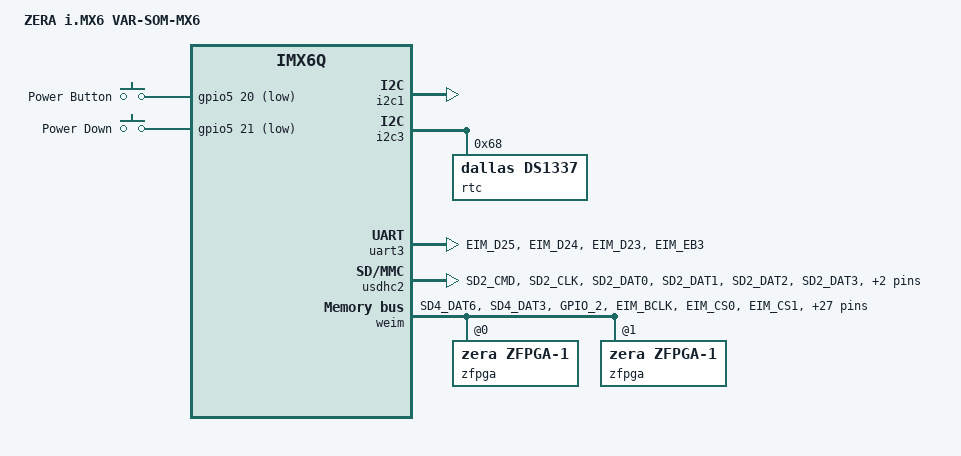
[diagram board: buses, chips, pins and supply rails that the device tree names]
// SPDX-License-Identifier: GPL-2.0+
/*
 * Support for Zera ZENUX devices
 *
 * Inspired by / stolen from imx6q-var-mx6customboard
 *
 * Copyright 2016 Variscite, Ltd. All Rights Reserved
 * Copyright 2022 Bootlin
 * Copyright 2026 ZERA GmbH
 */

/dts-v1/;

#include "imx6qdl-var-som.dtsi"
#include <dt-bindings/pwm/pwm.h>

/ {
	model = "ZERA i.MX6 VAR-SOM-MX6";
	compatible = "variscite,zera-devices, variscite,var-som-imx6q", "fsl,imx6q";

	/* ZERA */
	gpio-keys {
		compatible = "gpio-keys";
		pinctrl-names = "default";
		pinctrl-0 = <&pinctrl_gpio_keys>;

		power-button {
			label = "Power Button";
			gpios = <&gpio5 20 GPIO_ACTIVE_LOW>;
			linux,code = <KEY_POWER>;
			gpio-key,wakeup;
		};
		power-down {
			label = "Power Down";
			gpios = <&gpio5 21 GPIO_ACTIVE_LOW>;
			linux,code = <KEY_POWER>;
			gpio-key,wakeup;
		};
	};
};

&i2c1 {
	pinctrl-names = "default";
	pinctrl-0 = <&pinctrl_i2c1>;
	status = "okay";
};

&i2c3 {
	pinctrl-names = "default";
	pinctrl-0 = <&pinctrl_i2c3>;
	status = "okay";
	rtc@0x68 {
		compatible = "dallas,ds1337";
		reg = <0x68>;
	};
};

&uart3 {
	pinctrl-names = "default";
	pinctrl-0 = <&pinctrl_uart3>;
	uart-has-rtscts;
	status = "okay";
};

&usdhc2 { /* MMC/SD card (remember: usdhc1 -> eMMC / usdhc3 -> Wilink8 WL18xx) */
	pinctrl-names = "default";
	pinctrl-0 = <&pinctrl_usdhc2>;
	cd-gpios = <&gpio4 14 GPIO_ACTIVE_LOW>;
	wp-gpios = <&gpio4 15 GPIO_ACTIVE_HIGH>;
	status = "okay";
};

&clks {
	assigned-clocks = <&clks IMX6QDL_CLK_LDB_DI0_SEL>, <&clks IMX6QDL_CLK_LDB_DI1_SEL>;
	assigned-clock-parents = <&clks IMX6QDL_CLK_PLL5_VIDEO_DIV>, <&clks IMX6QDL_CLK_PLL5_VIDEO_DIV>;
};

&iomuxc {
	/* Power: Button / PowerSupply off detect */
	pinctrl_gpio_keys: gpio_keysgrp {
		fsl,pins = <
			/* PowerOn/Off buttons */
			MX6QDL_PAD_CSI0_DATA_EN__GPIO5_IO20 0x17059
			MX6QDL_PAD_CSI0_VSYNC__GPIO5_IO21   0x17059
		>;
	};

	/* ZFPGA I/O */
	pinctrl_zfpgamux_1: zfpgamux-1 {
		fsl,pins = <
			MX6QDL_PAD_SD4_DAT6__GPIO2_IO14 0x1a8b1	   /* LCA_IRQ as open drain no pullup (external) */
			MX6QDL_PAD_SD4_DAT3__GPIO2_IO11 0x1b0b1	   /* LCA_DONE */
			MX6QDL_PAD_GPIO_2__GPIO1_IO02   0x80000000 /* LCA_RESET */
		>;
	};

	/* ZFPGA WEIM */
	pinctrl_weim_zfpga: weim_zfpga-1 {
		fsl,pins = <
			/* EIM control outputs */
			MX6QDL_PAD_EIM_BCLK__EIM_BCLK    0x0b0b9
			MX6QDL_PAD_EIM_CS0__EIM_CS0_B    0x0b0b1
			MX6QDL_PAD_EIM_CS1__EIM_CS1_B    0x0b0b1
			MX6QDL_PAD_EIM_EB0__EIM_EB0_B    0x0b0b1
			MX6QDL_PAD_EIM_EB1__EIM_EB1_B    0x0b0b1
			MX6QDL_PAD_EIM_OE__EIM_OE_B      0x0b0b1
			MX6QDL_PAD_EIM_RW__EIM_RW        0x0b0b1
			MX6QDL_PAD_EIM_LBA__EIM_LBA_B    0x0b0b1

			/* EIM control inputs */
			MX6QDL_PAD_EIM_WAIT__EIM_DTACK_B 0x1b0b1

			/* EIM data/address */
			MX6QDL_PAD_EIM_DA0__EIM_AD00     0x1b0b1
			MX6QDL_PAD_EIM_DA1__EIM_AD01     0x1b0b1
			MX6QDL_PAD_EIM_DA2__EIM_AD02     0x1b0b1
			MX6QDL_PAD_EIM_DA3__EIM_AD03     0x1b0b1
			MX6QDL_PAD_EIM_DA4__EIM_AD04     0x1b0b1
			MX6QDL_PAD_EIM_DA5__EIM_AD05     0x1b0b1
			MX6QDL_PAD_EIM_DA6__EIM_AD06     0x1b0b1
			MX6QDL_PAD_EIM_DA7__EIM_AD07     0x1b0b1
			MX6QDL_PAD_EIM_DA8__EIM_AD08     0x1b0b1
			MX6QDL_PAD_EIM_DA9__EIM_AD09     0x1b0b1
			MX6QDL_PAD_EIM_DA10__EIM_AD10    0x1b0b1
			MX6QDL_PAD_EIM_DA11__EIM_AD11    0x1b0b1
			MX6QDL_PAD_EIM_DA12__EIM_AD12    0x1b0b1
			MX6QDL_PAD_EIM_DA13__EIM_AD13    0x1b0b1
			MX6QDL_PAD_EIM_DA14__EIM_AD14    0x1b0b1
			MX6QDL_PAD_EIM_DA15__EIM_AD15    0x1b0b1

			/* EIM address */
			MX6QDL_PAD_EIM_A20__EIM_ADDR20   0x0b0b1
			MX6QDL_PAD_EIM_A19__EIM_ADDR19   0x0b0b1
			MX6QDL_PAD_EIM_A18__EIM_ADDR18   0x0b0b1
			MX6QDL_PAD_EIM_A17__EIM_ADDR17   0x0b0b1
			MX6QDL_PAD_EIM_A16__EIM_ADDR16   0x0b0b1
		>;
	};

	/* Variscite defaults */
	pinctrl_flexcan1: flexcan1grp {
		fsl,pins = <
			MX6QDL_PAD_GPIO_7__FLEXCAN1_TX		0x1b0b0
			MX6QDL_PAD_GPIO_8__FLEXCAN1_RX		0x1b0b0
		>;
	};

	pinctrl_ipu1: ipu1grp {
		fsl,pins = <
			MX6QDL_PAD_DI0_DISP_CLK__IPU1_DI0_DISP_CLK	0x10
			MX6QDL_PAD_DI0_PIN15__IPU1_DI0_PIN15		0x10
			MX6QDL_PAD_DI0_PIN2__IPU1_DI0_PIN02		0x10
			MX6QDL_PAD_DI0_PIN3__IPU1_DI0_PIN03		0x10
			MX6QDL_PAD_DI0_PIN4__IPU1_DI0_PIN04		0x10
			MX6QDL_PAD_DISP0_DAT0__IPU1_DISP0_DATA00	0x10
			MX6QDL_PAD_DISP0_DAT1__IPU1_DISP0_DATA01	0x10
			MX6QDL_PAD_DISP0_DAT2__IPU1_DISP0_DATA02	0x10
			MX6QDL_PAD_DISP0_DAT3__IPU1_DISP0_DATA03	0x10
			MX6QDL_PAD_DISP0_DAT4__IPU1_DISP0_DATA04	0x10
			MX6QDL_PAD_DISP0_DAT5__IPU1_DISP0_DATA05	0x10
			MX6QDL_PAD_DISP0_DAT6__IPU1_DISP0_DATA06	0x10
			MX6QDL_PAD_DISP0_DAT7__IPU1_DISP0_DATA07	0x10
			MX6QDL_PAD_DISP0_DAT8__IPU1_DISP0_DATA08	0x10
			MX6QDL_PAD_DISP0_DAT9__IPU1_DISP0_DATA09	0x10
			MX6QDL_PAD_DISP0_DAT10__IPU1_DISP0_DATA10	0x10
			MX6QDL_PAD_DISP0_DAT11__IPU1_DISP0_DATA11	0x10
			MX6QDL_PAD_DISP0_DAT12__IPU1_DISP0_DATA12	0x10
			MX6QDL_PAD_DISP0_DAT13__IPU1_DISP0_DATA13	0x10
			MX6QDL_PAD_DISP0_DAT14__IPU1_DISP0_DATA14	0x10
			MX6QDL_PAD_DISP0_DAT15__IPU1_DISP0_DATA15	0x10
			MX6QDL_PAD_DISP0_DAT16__IPU1_DISP0_DATA16	0x10
			MX6QDL_PAD_DISP0_DAT17__IPU1_DISP0_DATA17	0x10
			MX6QDL_PAD_DISP0_DAT18__IPU1_DISP0_DATA18	0x10
			MX6QDL_PAD_DISP0_DAT19__IPU1_DISP0_DATA19	0x10
			MX6QDL_PAD_DISP0_DAT20__IPU1_DISP0_DATA20	0x10
			MX6QDL_PAD_DISP0_DAT21__IPU1_DISP0_DATA21	0x10
			MX6QDL_PAD_DISP0_DAT22__IPU1_DISP0_DATA22	0x10
			MX6QDL_PAD_DISP0_DAT23__IPU1_DISP0_DATA23	0x10
		>;
	};

	pinctrl_uart3: uart3grp {
		fsl,pins = <
			MX6QDL_PAD_EIM_D25__UART3_RX_DATA	0x1b0b1
			MX6QDL_PAD_EIM_D24__UART3_TX_DATA	0x1b0b1
			MX6QDL_PAD_EIM_D23__UART3_CTS_B		0x1b0b1
			MX6QDL_PAD_EIM_EB3__UART3_RTS_B		0x1b0b1
		>;
	};

	pinctrl_usbotg_var: usbotggrp {
		fsl,pins = <
			MX6QDL_PAD_GPIO_4__GPIO1_IO04		0x17059
		>;
	};

	pinctrl_usdhc1: usdhc1grp {
		fsl,pins = <
			MX6QDL_PAD_SD1_CMD__SD1_CMD		0x17071
			MX6QDL_PAD_SD1_CLK__SD1_CLK		0x10071
			MX6QDL_PAD_SD1_DAT0__SD1_DATA0		0x17071
			MX6QDL_PAD_SD1_DAT1__SD1_DATA1		0x17071
			MX6QDL_PAD_SD1_DAT2__SD1_DATA2		0x17071
			MX6QDL_PAD_SD1_DAT3__SD1_DATA3		0x17071
		>;
	};

	pinctrl_usdhc2: usdhc2grp {
		fsl,pins = <
			MX6QDL_PAD_SD2_CMD__SD2_CMD		0x17059
			MX6QDL_PAD_SD2_CLK__SD2_CLK		0x10059
			MX6QDL_PAD_SD2_DAT0__SD2_DATA0		0x17059
			MX6QDL_PAD_SD2_DAT1__SD2_DATA1		0x17059
			MX6QDL_PAD_SD2_DAT2__SD2_DATA2		0x17059
			MX6QDL_PAD_SD2_DAT3__SD2_DATA3		0x17059
		>;
	};
};

/* EIM settings - still have no idea why they call it 'wireless'... */
&weim {
	pinctrl-names = "default";
	pinctrl-0 = <&pinctrl_zfpgamux_1 &pinctrl_weim_zfpga>;

	#address-cells = <2>;
	#size-cells = <1>;
	/* address translation - friends are: Documentation/<..>/imx-weim.txt / `cat /proc/iomem` /
		 i.MX 6Dual/6Quad Applications Processor Reference Manual chapter 2 'Memory Maps' -> EIM
		 to get CS working properly with weim-cs-gpr, the values here are fixed for number of CS
		 used */
	ranges = <0 0 0x08000000 0x04000000     // CS0
	          1 0 0x0C000000 0x04000000>;   // CS1
	fsl,weim-cs-gpr = <&gpr>;
	status = "okay";

	/* CS0 */
	zfpga@0,0 {
		compatible = "zera,zfpga-1";
		/* CS0/StartAddrNode1/LengthNode1 / CS0/StartAddrNode2/LengthNode2 / ... */
		reg = <0 0x00000000 0x00001000   /* reg1 */
			0 0x00001000 0x00000020   /* dsp1 */
			0 0x00001400 0x00000020   /* dsp2 */
			0 0x00002000 0x00000001   /* boot */
			0 0x00003000 0x00001000   /* ec1  */
			0 0x00004000 0x00001000   /* msg1  */
			0 0x00010000 0x00010000>;   /* dbg  */
			
		fsl,weim-cs-timing = <0x01a10c09 0x00001100 /* EIM Chip-Select n General Configuration Register 1&2 */
			0x08023101 0x00000008 /* EIM Chip-Select n Read Configuration Register 1&2 */
			0x08049681 0x00000000 /* EIM Chip-Select n Write Configuration Register 1&2 */ >;

		/* device nodes/files (nodetype: 0:boot 1:reg 2:dsp 3:ec 4:msg 5:dbg 6:source) */
		reg1 {
			nodename = "zFPGA1reg";
			nodetype = <1>;
			interrupt-parent = <&gpio2>;
			/* interrupts: tupels of pin no / interrupt type (see
			Documentation/devicetree/bindings/gpio/fsl-imx-gpio.txt) */
			interrupts = <14 8>; /* low level triggered to ensure firing until all handled */
			/* align endianess for all access withs (EIM has special ideas for 32Bit access) */
			endian32 = /bits/ 8 <2 3 0 1>;
		};
		dsp1 {
			nodename = "zFPGA1dsp1";
			nodetype = <2>;
			interrupt-parent = <&gpio2>;
			/* interrupts: tupels of pin no / interrupt type (see
			Documentation/devicetree/bindings/gpio/fsl-imx-gpio.txt) */
			interrupts = <14 8>; /* low level triggered to ensure firing until all handled */
			/* align endianess for all access withs (EIM has special ideas for 32Bit access) */
			endian32 = /bits/ 8 <2 3 0 1>;
		};
		dsp2 {
			nodename = "zFPGA1dsp2";
			nodetype = <2>;
			interrupt-parent = <&gpio2>;
			/* interrupts: tupels of pin no / interrupt type (see
			Documentation/devicetree/bindings/gpio/fsl-imx-gpio.txt) */
			interrupts = <14 8>; /* low level triggered to ensure firing until all handled */
			/* align endianess for all access withs (EIM has special ideas for 32Bit access) */
			endian32 = /bits/ 8 <2 3 0 1>;
		};
		boot1 { /* there is only one boot device allowed currently */
			nodename = "zFPGA1boot";
			nodetype = <0>;
			bytes-per-transaction = <4>;
			/* gpio: tupel of port/pin/flag - note that flag is ignored */
			gpio-reset = <&gpio1 2  GPIO_ACTIVE_HIGH>;
			gpio-done =  <&gpio2 11 GPIO_ACTIVE_HIGH>;	/* is neccessary as it is read in interrupt service */
			interrupt-parent = <&gpio2>;
			/* interrupts: tupels of pin no / interrupt type (see
			Documentation/devicetree/bindings/gpio/fsl-imx-gpio.txt) */
			interrupts = <11 3>; /* both edges triggered */
			/* align endianess for all access withs (EIM has special ideas for 32Bit access) */
			endian32 = /bits/ 8 <2 3 0 1>;
		};
		ec1 {
			nodename = "zFPGA1ec";
			nodetype = <3>;
			interrupt-parent = <&gpio2>;
			/* interrupts: tupels of pin no / interrupt type (see
			Documentation/devicetree/bindings/gpio/fsl-imx-gpio.txt) */
			interrupts = <14 8>; /* low level triggered to ensure firing until all handled */
			/* align endianess for all access withs (EIM has special ideas for 32Bit access) */
			endian32 = /bits/ 8 <2 3 0 1>;
		};
		msg1 {
			nodename = "zFPGA1msg";
			nodetype = <4>;
			interrupt-parent = <&gpio2>;
			/* interrupts: tupels of pin no / interrupt type (see
			Documentation/devicetree/bindings/gpio/fsl-imx-gpio.txt) */
			interrupts = <14 8>; /* low level triggered to ensure firing until all handled */
			/* align endianess for all access withs (EIM has special ideas for 32Bit access) */
			endian32 = /bits/ 8 <2 3 0 1>;
		};
		dbg1 {
			nodename = "zFPGA1dbg";
			nodetype = <5>;
			/* align endianess for all access withs (EIM has special ideas for 32Bit access) */
			endian32 = /bits/ 8 <2 3 0 1>;
		};
	};
	
	/* CS1 */
	zfpga@1,0 {
		compatible = "zera,zfpga-1";
		/* CS0/StartAddrNode1/LengthNode1 / CS0/StartAddrNode2/LengthNode2 / ... */
		reg = <1 0x00000000 0x00070000>; /* source */
					
		fsl,weim-cs-timing = <0x71813C3F 0x00001002 /* EIM Chip-Select n General Configuration Register 1&2 */
			0x03000000 0x00000000 /* EIM Chip-Select n Read Configuration Register 1&2 */
			0x02040000 0x00000000 /* EIM Chip-Select n Write Configuration Register 1&2 */ >;

		fsl,burst-clk-enable;
				
		source1 {
			nodename = "zFPGA1source";
			nodetype = <6>;
			interrupt-parent = <&gpio2>;
			/* interrupts: tupels of pin no / interrupt type (see
			Documentation/devicetree/bindings/gpio/fsl-imx-gpio.txt) */
			interrupts = <14 8>; /* low level triggered to ensure firing until all handled */
			/* align endianess for all access withs (EIM has special ideas for 32Bit access) */
			endian32 = /bits/ 8 <2 3 0 1>;
		};
	};
};
